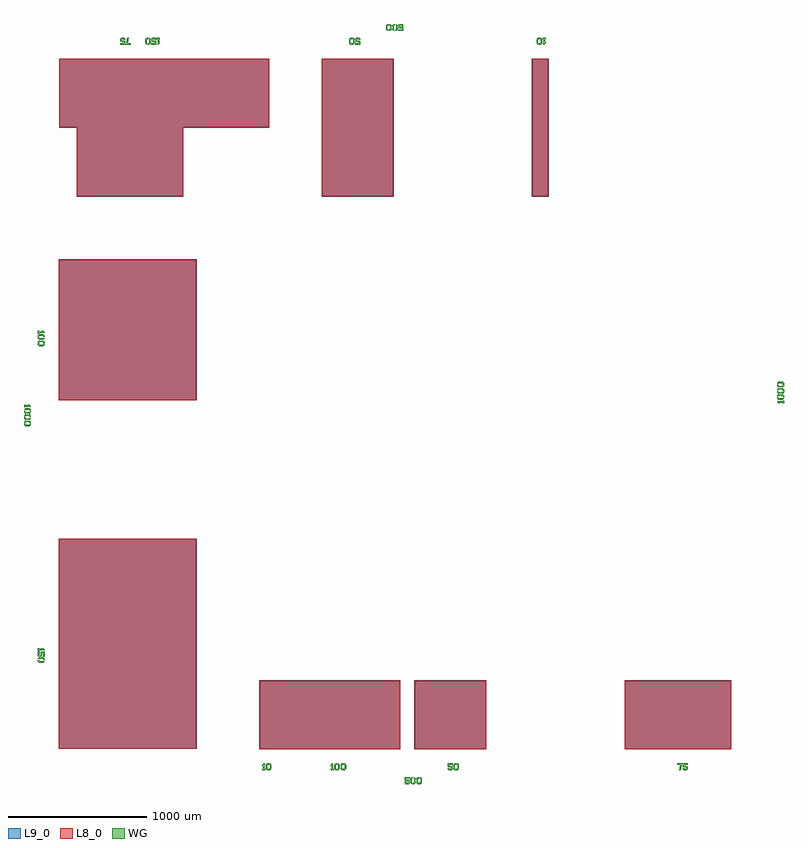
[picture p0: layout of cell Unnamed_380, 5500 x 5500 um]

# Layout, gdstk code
from math import pi, radians
import gdstk
lib = gdstk.Library(unit=1e-6, precision=1e-09)
def R(c, l, rs):  # rectangles x0, y0, x1, y1
    for r in rs: c.add(gdstk.rectangle(r[:2], r[2:], *l))
def P(c, l, *ps):  # polygons
    for p in ps: c.add(gdstk.Polygon(p, *l))
WG = (1, 0)
L8_0 = (8, 0)
L9_0 = (9, 0)

unnamed_379 = lib.new_cell('Unnamed_379')

unnamed_378 = lib.new_cell('Unnamed_378')

unnamed_376 = lib.new_cell('Unnamed_376')

unnamed_374 = lib.new_cell('Unnamed_374')

text_t1000_s50_p0_0_jlef = lib.new_cell('text_T1000_S50_P0_0_Jleft_L1_0')
P(text_t1000_s50_p0_0_jlef, WG, [(48.5,0),(51,10),(55,10),(60,15),(60,35),(55,40),(57.5,50),(60,50),(70,40),(70,10),(60,0)],
  [(93.5,0),(96,10),(100,10),(105,15),(105,35),(100,40),(102.5,50),(105,50),(115,40),(115,10),(105,0)],
  [(138.5,0),(141,10),(145,10),(150,15),(150,35),(145,40),(147.5,50),(150,50),(160,40),(160,10),(150,0)],
  [(40,0),(30,10),(30,40),(40,50),(51.5,50),(49,40),(45,40),(40,35),(40,15),(45,10),(42.5,0)],
  [(85,0),(75,10),(75,40),(85,50),(96.5,50),(94,40),(90,40),(85,35),(85,15),(90,10),(87.5,0)],
  [(130,0),(120,10),(120,40),(130,50),(141.5,50),(139,40),(135,40),(130,35),(130,15),(135,10),(132.5,0)],
  [(5,0),(5,10),(10,10),(10,30),(5,30),(5,40),(15,50),(20,50),(20,10),(25,10),(25,0)])

unnamed_372 = lib.new_cell('Unnamed_372')
unnamed_372.add(gdstk.Reference(text_t1000_s50_p0_0_jlef, (2500,-250)))

unnamed_373 = lib.new_cell('Unnamed_373')

unnamed_377 = lib.new_cell('Unnamed_377')

rectangle_s772_500_l9_0_ = lib.new_cell('rectangle_S772_500_L9_0_f8fbfb8e')
R(rectangle_s772_500_l9_0_, L9_0, [(0,0,772,500)])

text_t75_s50_p0_0_jleft_ = lib.new_cell('text_T75_S50_P0_0_Jleft_L1_0')
P(text_t75_s50_p0_0_jleft_, WG, [(50,0),(45,5),(45,15),(55,15),(55,10),(70,10),(70,20),(50,20),(45,25),(45,50),(80,50),(80,40),(55,40),(55,30),(75,30),(80,25),(80,5),(75,0)],
  [(20,0),(28,40),(5,40),(5,50),(40,50),(30,0)])

rectangle_s75_498_l8_0__ = lib.new_cell('rectangle_S75_498_L8_0__5f6cecd9')
R(rectangle_s75_498_l8_0__, L8_0, [(0,0,75,498)])

unnamed_355 = lib.new_cell('Unnamed_355')
unnamed_355.add(gdstk.Reference(rectangle_s772_500_l9_0_, (-47.455,0)))
unnamed_355.add(gdstk.Reference(text_t75_s50_p0_0_jleft_, (328.045,-150)))
unnamed_355.add(gdstk.Reference(rectangle_s75_498_l8_0__, (-45.455,0)))
unnamed_355.add(gdstk.Reference(rectangle_s75_498_l8_0__, (31.545,0)))
unnamed_355.add(gdstk.Reference(rectangle_s75_498_l8_0__, (108.545,0)))
unnamed_355.add(gdstk.Reference(rectangle_s75_498_l8_0__, (185.545,0)))
unnamed_355.add(gdstk.Reference(rectangle_s75_498_l8_0__, (262.545,0)))
unnamed_355.add(gdstk.Reference(rectangle_s75_498_l8_0__, (339.545,0)))
unnamed_355.add(gdstk.Reference(rectangle_s75_498_l8_0__, (416.545,0)))
unnamed_355.add(gdstk.Reference(rectangle_s75_498_l8_0__, (493.545,0)))
unnamed_355.add(gdstk.Reference(rectangle_s75_498_l8_0__, (570.545,0)))
unnamed_355.add(gdstk.Reference(rectangle_s75_498_l8_0__, (647.545,0)))

text_t500_s50_p0_0_jleft = lib.new_cell('text_T500_S50_P0_0_Jleft_L1_0')
P(text_t500_s50_p0_0_jleft, WG, [(63.5,0),(66,10),(70,10),(75,15),(75,35),(70,40),(72.5,50),(75,50),(85,40),(85,10),(75,0)],
  [(108.5,0),(111,10),(115,10),(120,15),(120,35),(115,40),(117.5,50),(120,50),(130,40),(130,10),(120,0)],
  [(55,0),(45,10),(45,40),(55,50),(66.5,50),(64,40),(60,40),(55,35),(55,15),(60,10),(57.5,0)],
  [(100,0),(90,10),(90,40),(100,50),(111.5,50),(109,40),(105,40),(100,35),(100,15),(105,10),(102.5,0)],
  [(10,0),(5,5),(5,15),(15,15),(15,10),(30,10),(30,20),(10,20),(5,25),(5,50),(40,50),(40,40),(15,40),(15,30),(35,30),(40,25),(40,5),(35,0)])

rectangle_s522_500_l9_0_ = lib.new_cell('rectangle_S522_500_L9_0_2f4601c8')
R(rectangle_s522_500_l9_0_, L9_0, [(0,0,522,500)])

text_t50_s50_p0_0_jleft_ = lib.new_cell('text_T50_S50_P0_0_Jleft_L1_0')
P(text_t50_s50_p0_0_jleft_, WG, [(63.5,0),(66,10),(70,10),(75,15),(75,35),(70,40),(72.5,50),(75,50),(85,40),(85,10),(75,0)],
  [(55,0),(45,10),(45,40),(55,50),(66.5,50),(64,40),(60,40),(55,35),(55,15),(60,10),(57.5,0)],
  [(10,0),(5,5),(5,15),(15,15),(15,10),(30,10),(30,20),(10,20),(5,25),(5,50),(40,50),(40,40),(15,40),(15,30),(35,30),(40,25),(40,5),(35,0)])

rectangle_s50_498_l8_0__ = lib.new_cell('rectangle_S50_498_L8_0__cadecadc')
R(rectangle_s50_498_l8_0__, L8_0, [(0,0,50,498)])

unnamed_354 = lib.new_cell('Unnamed_354')
unnamed_354.add(gdstk.Reference(rectangle_s522_500_l9_0_, (-47.455,0)))
unnamed_354.add(gdstk.Reference(text_t50_s50_p0_0_jleft_, (190.545,-150)))
unnamed_354.add(gdstk.Reference(rectangle_s50_498_l8_0__, (-45.455,0)))
unnamed_354.add(gdstk.Reference(rectangle_s50_498_l8_0__, (6.545,0)))
unnamed_354.add(gdstk.Reference(rectangle_s50_498_l8_0__, (58.545,0)))
unnamed_354.add(gdstk.Reference(rectangle_s50_498_l8_0__, (110.545,0)))
unnamed_354.add(gdstk.Reference(rectangle_s50_498_l8_0__, (162.545,0)))
unnamed_354.add(gdstk.Reference(rectangle_s50_498_l8_0__, (214.545,0)))
unnamed_354.add(gdstk.Reference(rectangle_s50_498_l8_0__, (266.545,0)))
unnamed_354.add(gdstk.Reference(rectangle_s50_498_l8_0__, (318.545,0)))
unnamed_354.add(gdstk.Reference(rectangle_s50_498_l8_0__, (370.545,0)))
unnamed_354.add(gdstk.Reference(rectangle_s50_498_l8_0__, (422.545,0)))

rectangle_s1022_500_l9__ = lib.new_cell('rectangle_S1022_500_L9__7b66dc4e')
R(rectangle_s1022_500_l9__, L9_0, [(0,0,1022,500)])

text_t100_s50_p0_0_jleft = lib.new_cell('text_T100_S50_P0_0_Jleft_L1_0')
P(text_t100_s50_p0_0_jleft, WG, [(48.5,0),(51,10),(55,10),(60,15),(60,35),(55,40),(57.5,50),(60,50),(70,40),(70,10),(60,0)],
  [(93.5,0),(96,10),(100,10),(105,15),(105,35),(100,40),(102.5,50),(105,50),(115,40),(115,10),(105,0)],
  [(40,0),(30,10),(30,40),(40,50),(51.5,50),(49,40),(45,40),(40,35),(40,15),(45,10),(42.5,0)],
  [(85,0),(75,10),(75,40),(85,50),(96.5,50),(94,40),(90,40),(85,35),(85,15),(90,10),(87.5,0)],
  [(5,0),(5,10),(10,10),(10,30),(5,30),(5,40),(15,50),(20,50),(20,10),(25,10),(25,0)])

rectangle_s100_498_l8_0_ = lib.new_cell('rectangle_S100_498_L8_0_8e44272a')
R(rectangle_s100_498_l8_0_, L8_0, [(0,0,100,498)])

unnamed_356 = lib.new_cell('Unnamed_356')
unnamed_356.add(gdstk.Reference(rectangle_s1022_500_l9__, (-47.455,0)))
unnamed_356.add(gdstk.Reference(text_t100_s50_p0_0_jleft, (465.545,-150)))
unnamed_356.add(gdstk.Reference(rectangle_s100_498_l8_0_, (-45.455,0)))
unnamed_356.add(gdstk.Reference(rectangle_s100_498_l8_0_, (56.545,0)))
unnamed_356.add(gdstk.Reference(rectangle_s100_498_l8_0_, (158.545,0)))
unnamed_356.add(gdstk.Reference(rectangle_s100_498_l8_0_, (260.545,0)))
unnamed_356.add(gdstk.Reference(rectangle_s100_498_l8_0_, (362.545,0)))
unnamed_356.add(gdstk.Reference(rectangle_s100_498_l8_0_, (464.545,0)))
unnamed_356.add(gdstk.Reference(rectangle_s100_498_l8_0_, (566.545,0)))
unnamed_356.add(gdstk.Reference(rectangle_s100_498_l8_0_, (668.545,0)))
unnamed_356.add(gdstk.Reference(rectangle_s100_498_l8_0_, (770.545,0)))
unnamed_356.add(gdstk.Reference(rectangle_s100_498_l8_0_, (872.545,0)))

text_t10_s50_p0_0_jleft_ = lib.new_cell('text_T10_S50_P0_0_Jleft_L1_0')
P(text_t10_s50_p0_0_jleft_, WG, [(48.5,0),(51,10),(55,10),(60,15),(60,35),(55,40),(57.5,50),(60,50),(70,40),(70,10),(60,0)],
  [(40,0),(30,10),(30,40),(40,50),(51.5,50),(49,40),(45,40),(40,35),(40,15),(45,10),(42.5,0)],
  [(5,0),(5,10),(10,10),(10,30),(5,30),(5,40),(15,50),(20,50),(20,10),(25,10),(25,0)])

rectangle_s122_500_l9_0_ = lib.new_cell('rectangle_S122_500_L9_0_ffbf6d70')
R(rectangle_s122_500_l9_0_, L9_0, [(0,0,122,500)])

rectangle_s10_498_l8_0__ = lib.new_cell('rectangle_S10_498_L8_0__ad3ec932')
R(rectangle_s10_498_l8_0__, L8_0, [(0,0,10,498)])

unnamed_353 = lib.new_cell('Unnamed_353')
unnamed_353.add(gdstk.Reference(text_t10_s50_p0_0_jleft_, (-29.455,-150)))
unnamed_353.add(gdstk.Reference(rectangle_s122_500_l9_0_, (-47.455,0)))
unnamed_353.add(gdstk.Reference(rectangle_s10_498_l8_0__, (-45.455,0)))
unnamed_353.add(gdstk.Reference(rectangle_s10_498_l8_0__, (-33.455,0)))
unnamed_353.add(gdstk.Reference(rectangle_s10_498_l8_0__, (-21.455,0)))
unnamed_353.add(gdstk.Reference(rectangle_s10_498_l8_0__, (-9.455,0)))
unnamed_353.add(gdstk.Reference(rectangle_s10_498_l8_0__, (2.545,0)))
unnamed_353.add(gdstk.Reference(rectangle_s10_498_l8_0__, (14.545,0)))
unnamed_353.add(gdstk.Reference(rectangle_s10_498_l8_0__, (26.545,0)))
unnamed_353.add(gdstk.Reference(rectangle_s10_498_l8_0__, (38.545,0)))
unnamed_353.add(gdstk.Reference(rectangle_s10_498_l8_0__, (50.545,0)))
unnamed_353.add(gdstk.Reference(rectangle_s10_498_l8_0__, (62.545,0)))

unnamed_369 = lib.new_cell('Unnamed_369')
unnamed_369.add(gdstk.Reference(unnamed_355, (4144,0)))
unnamed_369.add(gdstk.Reference(text_t500_s50_p0_0_jleft, (2500,-250)))
unnamed_369.add(gdstk.Reference(unnamed_354, (2622,0)))
unnamed_369.add(gdstk.Reference(unnamed_356, (1500,0)))
unnamed_369.add(gdstk.Reference(unnamed_353, (1500,0)))

rectangle_s1522_1000_l9_ = lib.new_cell('rectangle_S1522_1000_L9_b6fc3a18')
R(rectangle_s1522_1000_l9_, L9_0, [(0,0,1522,1000)])

text_t150_s50_p0_0_jleft = lib.new_cell('text_T150_S50_P0_0_Jleft_L1_0')
P(text_t150_s50_p0_0_jleft, WG, [(88.5,0),(91,10),(95,10),(100,15),(100,35),(95,40),(97.5,50),(100,50),(110,40),(110,10),(100,0)],
  [(80,0),(70,10),(70,40),(80,50),(91.5,50),(89,40),(85,40),(80,35),(80,15),(85,10),(82.5,0)],
  [(35,0),(30,5),(30,15),(40,15),(40,10),(55,10),(55,20),(35,20),(30,25),(30,50),(65,50),(65,40),(40,40),(40,30),(60,30),(65,25),(65,5),(60,0)],
  [(5,0),(5,10),(10,10),(10,30),(5,30),(5,40),(15,50),(20,50),(20,10),(25,10),(25,0)])

rectangle_s150_998_l8_0_ = lib.new_cell('rectangle_S150_998_L8_0_cd40ac17')
R(rectangle_s150_998_l8_0_, L8_0, [(0,0,150,998)])

unnamed_362 = lib.new_cell('Unnamed_362')
unnamed_362.add(gdstk.Reference(rectangle_s1522_1000_l9_, (-47.455,0)))
unnamed_362.add(gdstk.Reference(text_t150_s50_p0_0_jleft, (740.545,-150)))
unnamed_362.add(gdstk.Reference(rectangle_s150_998_l8_0_, (-45.455,0)))
unnamed_362.add(gdstk.Reference(rectangle_s150_998_l8_0_, (106.545,0)))
unnamed_362.add(gdstk.Reference(rectangle_s150_998_l8_0_, (258.545,0)))
unnamed_362.add(gdstk.Reference(rectangle_s150_998_l8_0_, (410.545,0)))
unnamed_362.add(gdstk.Reference(rectangle_s150_998_l8_0_, (562.545,0)))
unnamed_362.add(gdstk.Reference(rectangle_s150_998_l8_0_, (714.545,0)))
unnamed_362.add(gdstk.Reference(rectangle_s150_998_l8_0_, (866.545,0)))
unnamed_362.add(gdstk.Reference(rectangle_s150_998_l8_0_, (1018.545,0)))
unnamed_362.add(gdstk.Reference(rectangle_s150_998_l8_0_, (1170.545,0)))
unnamed_362.add(gdstk.Reference(rectangle_s150_998_l8_0_, (1322.545,0)))

rectangle_s1022_1000_l9_ = lib.new_cell('rectangle_S1022_1000_L9_34ee5ec5')
R(rectangle_s1022_1000_l9_, L9_0, [(0,0,1022,1000)])

rectangle_s100_998_l8_0_ = lib.new_cell('rectangle_S100_998_L8_0_c306aa22')
R(rectangle_s100_998_l8_0_, L8_0, [(0,0,100,998)])

unnamed_361 = lib.new_cell('Unnamed_361')
unnamed_361.add(gdstk.Reference(rectangle_s1022_1000_l9_, (-47.455,0)))
unnamed_361.add(gdstk.Reference(text_t100_s50_p0_0_jleft, (465.545,-150)))
unnamed_361.add(gdstk.Reference(rectangle_s100_998_l8_0_, (-45.455,0)))
unnamed_361.add(gdstk.Reference(rectangle_s100_998_l8_0_, (56.545,0)))
unnamed_361.add(gdstk.Reference(rectangle_s100_998_l8_0_, (158.545,0)))
unnamed_361.add(gdstk.Reference(rectangle_s100_998_l8_0_, (260.545,0)))
unnamed_361.add(gdstk.Reference(rectangle_s100_998_l8_0_, (362.545,0)))
unnamed_361.add(gdstk.Reference(rectangle_s100_998_l8_0_, (464.545,0)))
unnamed_361.add(gdstk.Reference(rectangle_s100_998_l8_0_, (566.545,0)))
unnamed_361.add(gdstk.Reference(rectangle_s100_998_l8_0_, (668.545,0)))
unnamed_361.add(gdstk.Reference(rectangle_s100_998_l8_0_, (770.545,0)))
unnamed_361.add(gdstk.Reference(rectangle_s100_998_l8_0_, (872.545,0)))

unnamed_371 = lib.new_cell('Unnamed_371')
unnamed_371.add(gdstk.Reference(unnamed_362, (3522,0)))
unnamed_371.add(gdstk.Reference(unnamed_361, (1500,0)))
unnamed_371.add(gdstk.Reference(text_t1000_s50_p0_0_jlef, (2500,-250)))

unnamed_375 = lib.new_cell('Unnamed_375')

rectangle_s522_1000_l9__ = lib.new_cell('rectangle_S522_1000_L9__e8a8a2df')
R(rectangle_s522_1000_l9__, L9_0, [(0,0,522,1000)])

rectangle_s50_998_l8_0__ = lib.new_cell('rectangle_S50_998_L8_0__a3cc393b')
R(rectangle_s50_998_l8_0__, L8_0, [(0,0,50,998)])

unnamed_359 = lib.new_cell('Unnamed_359')
unnamed_359.add(gdstk.Reference(rectangle_s522_1000_l9__, (-47.455,0)))
unnamed_359.add(gdstk.Reference(text_t50_s50_p0_0_jleft_, (190.545,-150)))
unnamed_359.add(gdstk.Reference(rectangle_s50_998_l8_0__, (-45.455,0)))
unnamed_359.add(gdstk.Reference(rectangle_s50_998_l8_0__, (6.545,0)))
unnamed_359.add(gdstk.Reference(rectangle_s50_998_l8_0__, (58.545,0)))
unnamed_359.add(gdstk.Reference(rectangle_s50_998_l8_0__, (110.545,0)))
unnamed_359.add(gdstk.Reference(rectangle_s50_998_l8_0__, (162.545,0)))
unnamed_359.add(gdstk.Reference(rectangle_s50_998_l8_0__, (214.545,0)))
unnamed_359.add(gdstk.Reference(rectangle_s50_998_l8_0__, (266.545,0)))
unnamed_359.add(gdstk.Reference(rectangle_s50_998_l8_0__, (318.545,0)))
unnamed_359.add(gdstk.Reference(rectangle_s50_998_l8_0__, (370.545,0)))
unnamed_359.add(gdstk.Reference(rectangle_s50_998_l8_0__, (422.545,0)))

rectangle_s122_1000_l9__ = lib.new_cell('rectangle_S122_1000_L9__1de77251')
R(rectangle_s122_1000_l9__, L9_0, [(0,0,122,1000)])

rectangle_s10_998_l8_0__ = lib.new_cell('rectangle_S10_998_L8_0__618c10ad')
R(rectangle_s10_998_l8_0__, L8_0, [(0,0,10,998)])

unnamed_358 = lib.new_cell('Unnamed_358')
unnamed_358.add(gdstk.Reference(rectangle_s122_1000_l9__, (-47.455,0)))
unnamed_358.add(gdstk.Reference(text_t10_s50_p0_0_jleft_, (-29.455,-150)))
unnamed_358.add(gdstk.Reference(rectangle_s10_998_l8_0__, (-45.455,0)))
unnamed_358.add(gdstk.Reference(rectangle_s10_998_l8_0__, (-33.455,0)))
unnamed_358.add(gdstk.Reference(rectangle_s10_998_l8_0__, (-21.455,0)))
unnamed_358.add(gdstk.Reference(rectangle_s10_998_l8_0__, (-9.455,0)))
unnamed_358.add(gdstk.Reference(rectangle_s10_998_l8_0__, (2.545,0)))
unnamed_358.add(gdstk.Reference(rectangle_s10_998_l8_0__, (14.545,0)))
unnamed_358.add(gdstk.Reference(rectangle_s10_998_l8_0__, (26.545,0)))
unnamed_358.add(gdstk.Reference(rectangle_s10_998_l8_0__, (38.545,0)))
unnamed_358.add(gdstk.Reference(rectangle_s10_998_l8_0__, (50.545,0)))
unnamed_358.add(gdstk.Reference(rectangle_s10_998_l8_0__, (62.545,0)))

rectangle_s772_1000_l9__ = lib.new_cell('rectangle_S772_1000_L9__6c6e360b')
R(rectangle_s772_1000_l9__, L9_0, [(0,0,772,1000)])

rectangle_s75_998_l8_0__ = lib.new_cell('rectangle_S75_998_L8_0__cc8ebacf')
R(rectangle_s75_998_l8_0__, L8_0, [(0,0,75,998)])

unnamed_360 = lib.new_cell('Unnamed_360')
unnamed_360.add(gdstk.Reference(rectangle_s772_1000_l9__, (-47.455,0)))
unnamed_360.add(gdstk.Reference(text_t75_s50_p0_0_jleft_, (328.045,-150)))
unnamed_360.add(gdstk.Reference(rectangle_s75_998_l8_0__, (-45.455,0)))
unnamed_360.add(gdstk.Reference(rectangle_s75_998_l8_0__, (31.545,0)))
unnamed_360.add(gdstk.Reference(rectangle_s75_998_l8_0__, (108.545,0)))
unnamed_360.add(gdstk.Reference(rectangle_s75_998_l8_0__, (185.545,0)))
unnamed_360.add(gdstk.Reference(rectangle_s75_998_l8_0__, (262.545,0)))
unnamed_360.add(gdstk.Reference(rectangle_s75_998_l8_0__, (339.545,0)))
unnamed_360.add(gdstk.Reference(rectangle_s75_998_l8_0__, (416.545,0)))
unnamed_360.add(gdstk.Reference(rectangle_s75_998_l8_0__, (493.545,0)))
unnamed_360.add(gdstk.Reference(rectangle_s75_998_l8_0__, (570.545,0)))
unnamed_360.add(gdstk.Reference(rectangle_s75_998_l8_0__, (647.545,0)))

rectangle_s1522_500_l9__ = lib.new_cell('rectangle_S1522_500_L9__e665eb4e')
R(rectangle_s1522_500_l9__, L9_0, [(0,0,1522,500)])

rectangle_s150_498_l8_0_ = lib.new_cell('rectangle_S150_498_L8_0_3344f8a4')
R(rectangle_s150_498_l8_0_, L8_0, [(0,0,150,498)])

unnamed_357 = lib.new_cell('Unnamed_357')
unnamed_357.add(gdstk.Reference(rectangle_s1522_500_l9__, (-47.455,0)))
unnamed_357.add(gdstk.Reference(text_t150_s50_p0_0_jleft, (740.545,-150)))
unnamed_357.add(gdstk.Reference(rectangle_s150_498_l8_0_, (-45.455,0)))
unnamed_357.add(gdstk.Reference(rectangle_s150_498_l8_0_, (106.545,0)))
unnamed_357.add(gdstk.Reference(rectangle_s150_498_l8_0_, (258.545,0)))
unnamed_357.add(gdstk.Reference(rectangle_s150_498_l8_0_, (410.545,0)))
unnamed_357.add(gdstk.Reference(rectangle_s150_498_l8_0_, (562.545,0)))
unnamed_357.add(gdstk.Reference(rectangle_s150_498_l8_0_, (714.545,0)))
unnamed_357.add(gdstk.Reference(rectangle_s150_498_l8_0_, (866.545,0)))
unnamed_357.add(gdstk.Reference(rectangle_s150_498_l8_0_, (1018.545,0)))
unnamed_357.add(gdstk.Reference(rectangle_s150_498_l8_0_, (1170.545,0)))
unnamed_357.add(gdstk.Reference(rectangle_s150_498_l8_0_, (1322.545,0)))

unnamed_370 = lib.new_cell('Unnamed_370')
unnamed_370.add(gdstk.Reference(unnamed_359, (2622,0)))
unnamed_370.add(gdstk.Reference(unnamed_358, (1500,0)))
unnamed_370.add(gdstk.Reference(text_t500_s50_p0_0_jleft, (2500,-250)))
unnamed_370.add(gdstk.Reference(unnamed_360, (4144,0)))
unnamed_370.add(gdstk.Reference(unnamed_357, (3522,0)))

unnamed_380 = lib.new_cell('Unnamed_380')
unnamed_380.add(gdstk.Reference(unnamed_379, (5000,0), rotation=pi/2))
unnamed_380.add(gdstk.Reference(unnamed_378, (5000,0), rotation=pi/2))
unnamed_380.add(gdstk.Reference(unnamed_376, (5000,0), rotation=pi/2))
unnamed_380.add(gdstk.Reference(unnamed_374, (5000,0), rotation=pi/2))
unnamed_380.add(gdstk.Reference(unnamed_372, (5000,0), rotation=pi/2))
unnamed_380.add(gdstk.Reference(unnamed_373, (5000,0), rotation=pi/2))
unnamed_380.add(gdstk.Reference(unnamed_377, (5000,0), rotation=pi/2))
unnamed_380.add(gdstk.Reference(unnamed_369, (0,0)))
unnamed_380.add(gdstk.Reference(unnamed_371, (0,5000), rotation=3*pi/2))
unnamed_380.add(gdstk.Reference(unnamed_375, (5000,0), rotation=pi/2))
unnamed_380.add(gdstk.Reference(unnamed_370, (5000,5000), rotation=pi))

lib.write_gds('Unnamed_380.gds')
